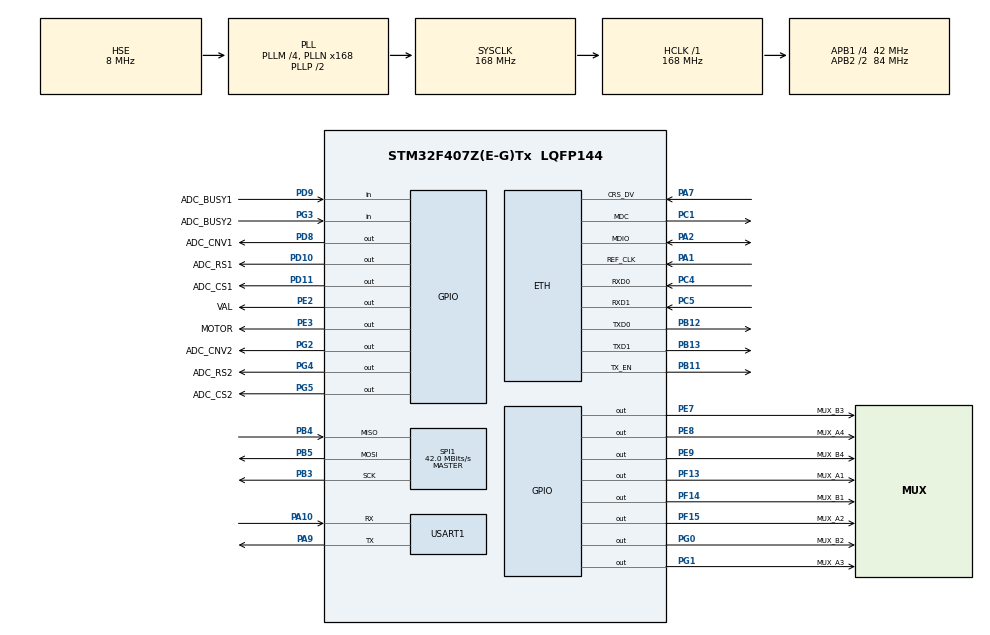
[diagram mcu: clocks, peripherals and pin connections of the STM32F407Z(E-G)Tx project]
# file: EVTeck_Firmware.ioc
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Dma.Request0=SPI1_RX
Dma.Request1=SPI1_TX
Dma.SPI1_RX.0.Direction=DMA_PERIPH_TO_MEMORY
Dma.SPI1_RX.0.FIFOMode=DMA_FIFOMODE_DISABLE
Dma.SPI1_RX.0.Instance=DMA2_Stream0
Dma.SPI1_RX.0.MemDataAlignment=DMA_MDATAALIGN_BYTE
Dma.SPI1_RX.0.MemInc=DMA_MINC_ENABLE
Dma.SPI1_RX.0.Mode=DMA_NORMAL
Dma.SPI1_RX.0.PeriphDataAlignment=DMA_PDATAALIGN_BYTE
Dma.SPI1_RX.0.PeriphInc=DMA_PINC_DISABLE
Dma.SPI1_RX.0.Priority=DMA_PRIORITY_HIGH
Dma.SPI1_TX.1.Direction=DMA_MEMORY_TO_PERIPH
Dma.SPI1_TX.1.FIFOMode=DMA_FIFOMODE_DISABLE
Dma.SPI1_TX.1.Instance=DMA2_Stream3
Dma.SPI1_TX.1.MemDataAlignment=DMA_MDATAALIGN_BYTE
Dma.SPI1_TX.1.MemInc=DMA_MINC_ENABLE
Dma.SPI1_TX.1.Mode=DMA_NORMAL
Dma.SPI1_TX.1.PeriphDataAlignment=DMA_PDATAALIGN_BYTE
Dma.SPI1_TX.1.PeriphInc=DMA_PINC_DISABLE
Dma.SPI1_TX.1.Priority=DMA_PRIORITY_HIGH
ETH.MediaInterface=ETH_MEDIA_INTERFACE_RMII
FREERTOS.Tasks01=defaultTask,24,256,StartDefaultTask,Default,NULL,Dynamic,NULL,NULL
FREERTOS.configCHECK_FOR_STACK_OVERFLOW=1
FREERTOS.configMINIMAL_STACK_SIZE=256
FREERTOS.configTOTAL_HEAP_SIZE=65535
FREERTOS.configUSE_NEWLIB_REENTRANT=1
LWIP.GATEWAY_ADDRESS=192.168.001.001
LWIP.IP_ADDRESS=192.168.001.002
LWIP.LWIP_DHCP=0
LWIP.NETMASK_ADDRESS=255.255.255.000
LWIP.Version=v2.1.2_Cube
Mcu.Family=STM32F4
Mcu.Name=STM32F407Z(E-G)Tx
Mcu.Package=LQFP144
NVIC.DMA2_Stream0_IRQn=true\:5\:0\:false\:false\:true\:true\:false\:true\:true
NVIC.DMA2_Stream3_IRQn=true\:5\:0\:false\:false\:true\:true\:false\:true\:true
NVIC.ETH_IRQn=true\:5\:0\:false\:false\:true\:true\:false\:true\:true
NVIC.PriorityGroup=NVIC_PRIORITYGROUP_4
NVIC.TIM1_BRK_TIM9_IRQn=true\:5\:0\:false\:false\:true\:true\:true\:true\:true
NVIC.TIM1_CC_IRQn=true\:5\:0\:false\:false\:true\:true\:true\:true\:true
NVIC.TIM1_TRG_COM_TIM11_IRQn=true\:5\:0\:false\:false\:true\:true\:true\:true\:true
NVIC.TIM1_UP_TIM10_IRQn=true\:5\:0\:false\:false\:true\:true\:true\:true\:true
NVIC.TIM2_IRQn=true\:5\:0\:false\:false\:true\:true\:true\:true\:true
NVIC.TIM6_DAC_IRQn=true\:0\:0\:false\:false\:true\:false\:false\:true\:true
NVIC.TimeBase=TIM6_DAC_IRQn
NVIC.TimeBaseIP=TIM6
NVIC.USART1_IRQn=true\:5\:0\:false\:false\:true\:true\:true\:true\:true
PA1.Mode=RMII
PA1.Signal=ETH_REF_CLK
PA10.Mode=Asynchronous
PA10.Signal=USART1_RX
PA13.Mode=Serial_Wire
PA13.Signal=SYS_JTMS-SWDIO
PA14.Mode=Serial_Wire
PA14.Signal=SYS_JTCK-SWCLK
PA2.Mode=RMII
PA2.Signal=ETH_MDIO
PA7.Mode=RMII
PA7.Signal=ETH_CRS_DV
PA9.Mode=Asynchronous
PA9.Signal=USART1_TX
PB11.Mode=RMII
PB11.Signal=ETH_TX_EN
PB12.Mode=RMII
PB12.Signal=ETH_TXD0
PB13.Mode=RMII
PB13.Signal=ETH_TXD1
PB3.Mode=Full_Duplex_Master
PB3.Signal=SPI1_SCK
PB4.Mode=Full_Duplex_Master
PB4.Signal=SPI1_MISO
PB5.Mode=Full_Duplex_Master
PB5.Signal=SPI1_MOSI
PC1.Mode=RMII
PC1.Signal=ETH_MDC
PC4.Mode=RMII
PC4.Signal=ETH_RXD0
PC5.Mode=RMII
PC5.Signal=ETH_RXD1
PD10.GPIO_Label=ADC_RS1
PD10.Signal=GPIO_Output
PD11.GPIO_Label=ADC_CS1
PD11.Signal=GPIO_Output
PD8.GPIO_Label=ADC_CNV1
PD8.Signal=GPIO_Output
PD9.GPIO_Label=ADC_BUSY1
PD9.Signal=GPIO_Input
PE2.GPIO_Label=VAL
PE2.Signal=GPIO_Output
PE3.GPIO_Label=MOTOR
PE3.Signal=GPIO_Output
PE7.GPIO_Label=MUX_B3
PE7.Signal=GPIO_Output
PE8.GPIO_Label=MUX_A4
PE8.Signal=GPIO_Output
PE9.GPIO_Label=MUX_B4
PE9.Signal=GPIO_Output
PF13.GPIO_Label=MUX_A1
PF13.Signal=GPIO_Output
PF14.GPIO_Label=MUX_B1
PF14.Signal=GPIO_Output
PF15.GPIO_Label=MUX_A2
PF15.Signal=GPIO_Output
PG0.GPIO_Label=MUX_B2
PG0.Signal=GPIO_Output
PG1.GPIO_Label=MUX_A3
PG1.Signal=GPIO_Output
PG2.GPIO_Label=ADC_CNV2
PG2.Signal=GPIO_Output
PG3.GPIO_Label=ADC_BUSY2
PG3.Signal=GPIO_Input
PG4.GPIO_Label=ADC_RS2
PG4.Signal=GPIO_Output
PG5.GPIO_Label=ADC_CS2
PG5.Signal=GPIO_Output
PH0-OSC_IN.Mode=HSE-External-Oscillator
PH0-OSC_IN.Signal=RCC_OSC_IN
PH1-OSC_OUT.Mode=HSE-External-Oscillator
PH1-OSC_OUT.Signal=RCC_OSC_OUT
ProjectManager.HeapSize=0x200
ProjectManager.StackSize=0x400
ProjectManager.TargetToolchain=STM32CubeIDE
RCC.48MHZClocksFreq_Value=84000000
RCC.AHBFreq_Value=168000000
RCC.APB1CLKDivider=RCC_HCLK_DIV4
RCC.APB1Freq_Value=42000000
RCC.APB1TimFreq_Value=84000000
RCC.APB2CLKDivider=RCC_HCLK_DIV2
RCC.APB2Freq_Value=84000000
RCC.APB2TimFreq_Value=168000000
RCC.CortexFreq_Value=168000000
RCC.HCLKFreq_Value=168000000
RCC.HSE_VALUE=8000000
RCC.HSI_VALUE=16000000
RCC.LSE_VALUE=32768
RCC.PLLM=4
RCC.PLLN=168
RCC.PLLSourceVirtual=RCC_PLLSOURCE_HSE
RCC.SYSCLKFreq_VALUE=168000000
RCC.SYSCLKSource=RCC_SYSCLKSOURCE_PLLCLK
RCC.VCOOutputFreq_Value=336000000
SPI1.CalculateBaudRate=42.0 MBits/s
SPI1.Direction=SPI_DIRECTION_2LINES
SPI1.Mode=SPI_MODE_MASTER
SPI1.VirtualType=VM_MASTER
TIM1.Prescaler=167
TIM2.Period=4294967295
TIM2.Prescaler=167
USART1.VirtualMode=VM_ASYNC
VP_FREERTOS_VS_CMSIS_V2.Mode=CMSIS_V2
VP_LWIP_VS_Enabled.Mode=Enabled
VP_SYS_VS_tim6.Mode=TIM6
VP_TIM1_VS_ClockSourceINT.Mode=Internal
VP_TIM2_VS_ClockSourceINT.Mode=Internal
board=custom

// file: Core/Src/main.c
/* USER CODE BEGIN Header */
/**
  ******************************************************************************
  * @file           : main.c
  * @brief          : Main program body
  ******************************************************************************
  * @attention
  *
  * <h2><center>&copy; Copyright (c) 2023 STMicroelectronics.
  * All rights reserved.</center></h2>
  *
  * This software component is licensed by ST under BSD 3-Clause license,
  * the "License"; You may not use this file except in compliance with the
  * License. You may obtain a copy of the License at:
  *                        opensource.org/licenses/BSD-3-Clause
  *
  ******************************************************************************
  */
/* USER CODE END Header */
#include "main.h"
#include "cmsis_os.h"
#include "lwip.h"

/* USER CODE BEGIN Includes */
#include "board.h"
#include "app.h"
#include <string.h>
#include <dns.h>
#include <mqtt_app.h>
#include <flash/flash.h>

/* USER CODE END Includes */

SPI_HandleTypeDef hspi1;
DMA_HandleTypeDef hdma_spi1_rx;
DMA_HandleTypeDef hdma_spi1_tx;

TIM_HandleTypeDef htim1;
TIM_HandleTypeDef htim2;

UART_HandleTypeDef huart1;

/* Definitions for defaultTask */
osThreadId_t defaultTaskHandle;
const osThreadAttr_t defaultTask_attributes = {
  .name = "defaultTask",
  .stack_size = 256 * 4,
  .priority = (osPriority_t) osPriorityNormal,
};

void SystemClock_Config(void);
static void MX_GPIO_Init(void);
static void MX_DMA_Init(void);
static void MX_SPI1_Init(void);
static void MX_TIM1_Init(void);
static void MX_TIM2_Init(void);
static void MX_USART1_UART_Init(void);
void StartDefaultTask(void *argument);

/* USER CODE BEGIN 0 */
void mg_random(void *buf, size_t len) {  // Use on-board RNG
  for (size_t n = 0; n < len; n += sizeof(uint32_t)) {
    uint32_t r = (uint32_t)rand();
    memcpy((char *) buf + n, &r, n + sizeof(r) > len ? len - n : sizeof(r));
  }
}
uint64_t mg_millis(void) {
  return HAL_GetTick();
}
//bool mgos_lwip_if_get_ip_info(const struct netif *nif,
//                              const char *dns_override,
//                              struct mgos_net_ip_info *ip_info);

/* USER CODE END 0 */

int main(void)
{

  /* MCU Configuration--------------------------------------------------------*/

  /* Reset of all peripherals, Initializes the Flash interface and the Systick. */
  HAL_Init();

  /* Configure the system clock */
  SystemClock_Config();

  /* Initialize all configured peripherals */
  MX_GPIO_Init();
  MX_DMA_Init();
  MX_SPI1_Init();
  MX_TIM1_Init();
  MX_TIM2_Init();
  MX_USART1_UART_Init();
  /* USER CODE BEGIN 2 */
  HAL_TIM_Base_Start(&htim1);
  board_init();
  /* USER CODE END 2 */

  /* Init scheduler */
  osKernelInitialize();

  /* Create the thread(s) */
  /* creation of defaultTask */
  defaultTaskHandle = osThreadNew(StartDefaultTask, NULL, &defaultTask_attributes);

  /* Start scheduler */
  osKernelStart();

  /* We should never get here as control is now taken by the scheduler */
  /* Infinite loop */
  while (1)
  {

  }
}

void SystemClock_Config(void)
{
  RCC_OscInitTypeDef RCC_OscInitStruct = {0};
  RCC_ClkInitTypeDef RCC_ClkInitStruct = {0};

  /** Configure the main internal regulator output voltage
  */
  __HAL_RCC_PWR_CLK_ENABLE();
  __HAL_PWR_VOLTAGESCALING_CONFIG(PWR_REGULATOR_VOLTAGE_SCALE1);
  /** Initializes the RCC Oscillators according to the specified parameters
  * in the RCC_OscInitTypeDef structure.
  */
  RCC_OscInitStruct.OscillatorType = RCC_OSCILLATORTYPE_HSE;
  RCC_OscInitStruct.HSEState = RCC_HSE_ON;
  RCC_OscInitStruct.PLL.PLLState = RCC_PLL_ON;
  RCC_OscInitStruct.PLL.PLLSource = RCC_PLLSOURCE_HSE;
  RCC_OscInitStruct.PLL.PLLM = 4;
  RCC_OscInitStruct.PLL.PLLN = 168;
  RCC_OscInitStruct.PLL.PLLP = RCC_PLLP_DIV2;
  RCC_OscInitStruct.PLL.PLLQ = 4;
  if (HAL_RCC_OscConfig(&RCC_OscInitStruct) != HAL_OK)
  {
    Error_Handler();
  }
  /** Initializes the CPU, AHB and APB buses clocks
  */
  RCC_ClkInitStruct.ClockType = RCC_CLOCKTYPE_HCLK|RCC_CLOCKTYPE_SYSCLK
                              |RCC_CLOCKTYPE_PCLK1|RCC_CLOCKTYPE_PCLK2;
  RCC_ClkInitStruct.SYSCLKSource = RCC_SYSCLKSOURCE_PLLCLK;
  RCC_ClkInitStruct.AHBCLKDivider = RCC_SYSCLK_DIV1;
  RCC_ClkInitStruct.APB1CLKDivider = RCC_HCLK_DIV4;
  RCC_ClkInitStruct.APB2CLKDivider = RCC_HCLK_DIV2;

  if (HAL_RCC_ClockConfig(&RCC_ClkInitStruct, FLASH_LATENCY_5) != HAL_OK)
  {
    Error_Handler();
  }
}

static void MX_SPI1_Init(void)
{

  /* SPI1 parameter configuration*/
  hspi1.Instance = SPI1;
  hspi1.Init.Mode = SPI_MODE_MASTER;
  hspi1.Init.Direction = SPI_DIRECTION_2LINES;
  hspi1.Init.DataSize = SPI_DATASIZE_8BIT;
  hspi1.Init.CLKPolarity = SPI_POLARITY_LOW;
  hspi1.Init.CLKPhase = SPI_PHASE_1EDGE;
  hspi1.Init.NSS = SPI_NSS_SOFT;
  hspi1.Init.BaudRatePrescaler = SPI_BAUDRATEPRESCALER_2;
  hspi1.Init.FirstBit = SPI_FIRSTBIT_MSB;
  hspi1.Init.TIMode = SPI_TIMODE_DISABLE;
  hspi1.Init.CRCCalculation = SPI_CRCCALCULATION_DISABLE;
  hspi1.Init.CRCPolynomial = 10;
  if (HAL_SPI_Init(&hspi1) != HAL_OK)
  {
    Error_Handler();
  }

}

static void MX_TIM1_Init(void)
{

  TIM_ClockConfigTypeDef sClockSourceConfig = {0};
  TIM_MasterConfigTypeDef sMasterConfig = {0};

  htim1.Instance = TIM1;
  htim1.Init.Prescaler = 167;
  htim1.Init.CounterMode = TIM_COUNTERMODE_UP;
  htim1.Init.Period = 65535;
  htim1.Init.ClockDivision = TIM_CLOCKDIVISION_DIV1;
  htim1.Init.RepetitionCounter = 0;
  htim1.Init.AutoReloadPreload = TIM_AUTORELOAD_PRELOAD_DISABLE;
  if (HAL_TIM_Base_Init(&htim1) != HAL_OK)
  {
    Error_Handler();
  }
  sClockSourceConfig.ClockSource = TIM_CLOCKSOURCE_INTERNAL;
  if (HAL_TIM_ConfigClockSource(&htim1, &sClockSourceConfig) != HAL_OK)
  {
    Error_Handler();
  }
  sMasterConfig.MasterOutputTrigger = TIM_TRGO_RESET;
  sMasterConfig.MasterSlaveMode = TIM_MASTERSLAVEMODE_DISABLE;
  if (HAL_TIMEx_MasterConfigSynchronization(&htim1, &sMasterConfig) != HAL_OK)
  {
    Error_Handler();
  }

}

static void MX_TIM2_Init(void)
{

  TIM_ClockConfigTypeDef sClockSourceConfig = {0};
  TIM_MasterConfigTypeDef sMasterConfig = {0};

  htim2.Instance = TIM2;
  htim2.Init.Prescaler = 167;
  htim2.Init.CounterMode = TIM_COUNTERMODE_UP;
  htim2.Init.Period = 4294967295;
  htim2.Init.ClockDivision = TIM_CLOCKDIVISION_DIV1;
  htim2.Init.AutoReloadPreload = TIM_AUTORELOAD_PRELOAD_DISABLE;
  if (HAL_TIM_Base_Init(&htim2) != HAL_OK)
  {
    Error_Handler();
  }
  sClockSourceConfig.ClockSource = TIM_CLOCKSOURCE_INTERNAL;
  if (HAL_TIM_ConfigClockSource(&htim2, &sClockSourceConfig) != HAL_OK)
  {
    Error_Handler();
  }
  sMasterConfig.MasterOutputTrigger = TIM_TRGO_RESET;
  sMasterConfig.MasterSlaveMode = TIM_MASTERSLAVEMODE_DISABLE;
  if (HAL_TIMEx_MasterConfigSynchronization(&htim2, &sMasterConfig) != HAL_OK)
  {
    Error_Handler();
  }

}

static void MX_USART1_UART_Init(void)
{

  huart1.Instance = USART1;
  huart1.Init.BaudRate = 115200;
  huart1.Init.WordLength = UART_WORDLENGTH_8B;
  huart1.Init.StopBits = UART_STOPBITS_1;
  huart1.Init.Parity = UART_PARITY_NONE;
  huart1.Init.Mode = UART_MODE_TX_RX;
  huart1.Init.HwFlowCtl = UART_HWCONTROL_NONE;
  huart1.Init.OverSampling = UART_OVERSAMPLING_16;
  if (HAL_UART_Init(&huart1) != HAL_OK)
  {
    Error_Handler();
  }

}

static void MX_DMA_Init(void)
{

  /* DMA controller clock enable */
  __HAL_RCC_DMA2_CLK_ENABLE();

  /* DMA interrupt init */
  /* DMA2_Stream0_IRQn interrupt configuration */
  HAL_NVIC_SetPriority(DMA2_Stream0_IRQn, 5, 0);
  HAL_NVIC_EnableIRQ(DMA2_Stream0_IRQn);
  /* DMA2_Stream3_IRQn interrupt configuration */
  HAL_NVIC_SetPriority(DMA2_Stream3_IRQn, 5, 0);
  HAL_NVIC_EnableIRQ(DMA2_Stream3_IRQn);

}

static void MX_GPIO_Init(void)
{
  GPIO_InitTypeDef GPIO_InitStruct = {0};

  /* GPIO Ports Clock Enable */
  __HAL_RCC_GPIOE_CLK_ENABLE();
  __HAL_RCC_GPIOH_CLK_ENABLE();
  __HAL_RCC_GPIOC_CLK_ENABLE();
  __HAL_RCC_GPIOA_CLK_ENABLE();
  __HAL_RCC_GPIOF_CLK_ENABLE();
  __HAL_RCC_GPIOG_CLK_ENABLE();
  __HAL_RCC_GPIOB_CLK_ENABLE();
  __HAL_RCC_GPIOD_CLK_ENABLE();

  /*Configure GPIO pin Output Level */
  HAL_GPIO_WritePin(GPIOE, VAL_Pin|MOTOR_Pin|MUX_B3_Pin|MUX_A4_Pin
                          |MUX_B4_Pin, GPIO_PIN_RESET);

  /*Configure GPIO pin Output Level */
  HAL_GPIO_WritePin(GPIOF, MUX_A1_Pin|MUX_B1_Pin|MUX_A2_Pin, GPIO_PIN_RESET);

  /*Configure GPIO pin Output Level */
  HAL_GPIO_WritePin(GPIOG, MUX_B2_Pin|MUX_A3_Pin|ADC_CNV2_Pin|ADC_RS2_Pin
                          |ADC_CS2_Pin, GPIO_PIN_RESET);

  /*Configure GPIO pin Output Level */
  HAL_GPIO_WritePin(GPIOD, ADC_CNV1_Pin|ADC_RS1_Pin|ADC_CS1_Pin, GPIO_PIN_RESET);

  /*Configure GPIO pins : VAL_Pin MOTOR_Pin MUX_B3_Pin MUX_A4_Pin
                           MUX_B4_Pin */
  GPIO_InitStruct.Pin = VAL_Pin|MOTOR_Pin|MUX_B3_Pin|MUX_A4_Pin
                          |MUX_B4_Pin;
  GPIO_InitStruct.Mode = GPIO_MODE_OUTPUT_PP;
  GPIO_InitStruct.Pull = GPIO_NOPULL;
  GPIO_InitStruct.Speed = GPIO_SPEED_FREQ_LOW;
  HAL_GPIO_Init(GPIOE, &GPIO_InitStruct);

  /*Configure GPIO pins : MUX_A1_Pin MUX_B1_Pin MUX_A2_Pin */
  GPIO_InitStruct.Pin = MUX_A1_Pin|MUX_B1_Pin|MUX_A2_Pin;
  GPIO_InitStruct.Mode = GPIO_MODE_OUTPUT_PP;
  GPIO_InitStruct.Pull = GPIO_NOPULL;
  GPIO_InitStruct.Speed = GPIO_SPEED_FREQ_LOW;
  HAL_GPIO_Init(GPIOF, &GPIO_InitStruct);

  /*Configure GPIO pins : MUX_B2_Pin MUX_A3_Pin ADC_CNV2_Pin ADC_RS2_Pin
                           ADC_CS2_Pin */
  GPIO_InitStruct.Pin = MUX_B2_Pin|MUX_A3_Pin|ADC_CNV2_Pin|ADC_RS2_Pin
                          |ADC_CS2_Pin;
  GPIO_InitStruct.Mode = GPIO_MODE_OUTPUT_PP;
  GPIO_InitStruct.Pull = GPIO_NOPULL;
  GPIO_InitStruct.Speed = GPIO_SPEED_FREQ_LOW;
  HAL_GPIO_Init(GPIOG, &GPIO_InitStruct);

  /*Configure GPIO pins : ADC_CNV1_Pin ADC_RS1_Pin ADC_CS1_Pin */
  GPIO_InitStruct.Pin = ADC_CNV1_Pin|ADC_RS1_Pin|ADC_CS1_Pin;
  GPIO_InitStruct.Mode = GPIO_MODE_OUTPUT_PP;
  GPIO_InitStruct.Pull = GPIO_NOPULL;
  GPIO_InitStruct.Speed = GPIO_SPEED_FREQ_LOW;
  HAL_GPIO_Init(GPIOD, &GPIO_InitStruct);

  /*Configure GPIO pin : ADC_BUSY1_Pin */
  GPIO_InitStruct.Pin = ADC_BUSY1_Pin;
  GPIO_InitStruct.Mode = GPIO_MODE_INPUT;
  GPIO_InitStruct.Pull = GPIO_NOPULL;
  HAL_GPIO_Init(ADC_BUSY1_GPIO_Port, &GPIO_InitStruct);

  /*Configure GPIO pin : ADC_BUSY2_Pin */
  GPIO_InitStruct.Pin = ADC_BUSY2_Pin;
  GPIO_InitStruct.Mode = GPIO_MODE_INPUT;
  GPIO_InitStruct.Pull = GPIO_NOPULL;
  HAL_GPIO_Init(ADC_BUSY2_GPIO_Port, &GPIO_InitStruct);

}

/* USER CODE BEGIN 4 */
extern struct netif gnetif;
union ip_type{
	uint8_t ip_u8_t[4];
	uint32_t ip_u32_t;
};

union ip_type my_ip;

void dns_callback(const char *name, const ip_addr_t *ipaddr, void *callback_arg){
	union ip_type mqtt_ip;
	mqtt_ip.ip_u32_t = ipaddr->addr;
	mqtt_app_init(mqtt_ip.ip_u8_t);
}
/* USER CODE END 4 */

void StartDefaultTask(void *argument)
{
  /* init code for LWIP */
  MX_LWIP_Init();
  /* USER CODE BEGIN 5 */
  app_init();
  while(ip4_addr_isany_val(*netif_ip4_addr(&gnetif)))
	  osDelay(200); // CMSIS-RTOS v1 uses milliseconds

//  dns_init();
//  ip_addr_t addr;
//  dns_gethostbyname("hub.dev.selex.vn",&addr,dns_callback,NULL);
//  /* Infinite loop */

  osThreadExit();
  for(;;)
  {
    osDelay(1);
  }
  /* USER CODE END 5 */
}

 /**
  * @brief  Period elapsed callback in non blocking mode
  * @note   This function is called  when TIM6 interrupt took place, inside
  * HAL_TIM_IRQHandler(). It makes a direct call to HAL_IncTick() to increment
  * a global variable "uwTick" used as application time base.
  * @param  htim : TIM handle
  * @retval None
  */
void HAL_TIM_PeriodElapsedCallback(TIM_HandleTypeDef *htim)
{
  if (htim->Instance == TIM6) {
    HAL_IncTick();
  }
  /* USER CODE BEGIN Callback 1 */
  if(htim->Instance == htim2.Instance){
	  app_read_sensor_task((void*)htim);
  }
  /* USER CODE END Callback 1 */
}

void Error_Handler(void)
{
  __disable_irq();
  while (1)
  {
  }
}

/************************ (C) COPYRIGHT STMicroelectronics *****END OF FILE****/

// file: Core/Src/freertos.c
/* USER CODE BEGIN Header */
/**
  ******************************************************************************
  * File Name          : freertos.c
  * Description        : Code for freertos applications
  ******************************************************************************
  * @attention
  *
  * <h2><center>&copy; Copyright (c) 2023 STMicroelectronics.
  * All rights reserved.</center></h2>
  *
  * This software component is licensed by ST under Ultimate Liberty license
  * SLA0044, the "License"; You may not use this file except in compliance with
  * the License. You may obtain a copy of the License at:
  *                             www.st.com/SLA0044
  *
  ******************************************************************************
  */
/* USER CODE END Header */

#include "FreeRTOS.h"
#include "task.h"
#include "main.h"

/* USER CODE BEGIN Includes */
#include <stdio.h>
#include <stdint.h>
#include <string.h>
/* USER CODE END Includes */

/* USER CODE BEGIN Variables */
char buff_debug[256];
/* USER CODE END Variables */

/* Hook prototypes */
void vApplicationStackOverflowHook(xTaskHandle xTask, signed char *pcTaskName);

/* USER CODE BEGIN 4 */
void vApplicationStackOverflowHook(xTaskHandle xTask, signed char *pcTaskName)
{
   /* Run time stack overflow checking is performed if
   configCHECK_FOR_STACK_OVERFLOW is defined to 1 or 2. This hook function is
   called if a stack overflow is detected. */
	sprintf(buff_debug,"Task %s over flow hook\r\n",pcTaskName);
}
/* USER CODE END 4 */

/************************ (C) COPYRIGHT STMicroelectronics *****END OF FILE****/
